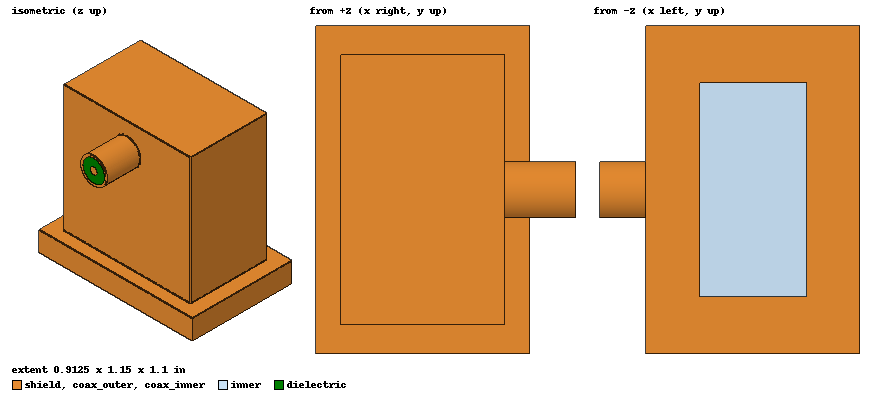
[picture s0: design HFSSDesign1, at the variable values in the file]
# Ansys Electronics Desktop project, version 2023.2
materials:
  vacuum: permittivity=1
  copper: permeability=0.999991 conductivity=58000000
  Teflon (tm): permittivity=2.1 dielectric_loss_tangent=0.001

design HFSSDesign1 (HFSS, HFSS Modal Network, model units in)
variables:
  offset = 0in
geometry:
  inner [vacuum] = box(corner=(-0.1875in, -0.375in, 0in), size=(0.375in, 0.75in, 1in))
  outer = box(corner=(-0.2875in, -0.475in, 0in), size=(0.575in, 0.95in, 1in))
  shield [copper] = box(corner=(-0.375in, -0.575in, 0in), size=(0.75in, 1.15in, 0.15in))
  inner_1 = inner.copy()
  outer.subtract(inner_1)
  inner_2 = inner.copy()
  shield.subtract(inner_2)
  shield.unite(outer)
  coax_inner [copper] = cylinder(axis=X, base_centre=(0in, 0in, 0.9in+offset), radius=0.635mm, height=(0.25+0.2875) in)
  dielectric [Teflon (tm)] = cylinder(axis=X, base_centre=(0.1875in, 0in, 0.9in+offset), radius=2.05mm, height=0.35in)
  coax_outer [copper] = cylinder(axis=X, base_centre=(0.2875in, 0in, 0.9in+offset), radius=2.5mm, height=0.25in)
  dielectric_1 = dielectric.copy()
  coax_outer.subtract(dielectric_1)
  coax_inner_1 = coax_inner.copy()
  dielectric.subtract(coax_inner_1)
  back_short = box(corner=(0.2875in, 0.475in, 1in), size=(-0.575in, -0.95in, 0.1in))
  shield.unite(back_short)
  coax_inner_2 = coax_inner.copy()
  shield.subtract(coax_inner_2)
  coax_inner_3 = coax_inner.copy()
  inner.subtract(coax_inner_3)
  dielectric_2 = dielectric.copy()
  shield.subtract(dielectric_2)
  coax_outer_1 = coax_outer.copy()
  shield.subtract(coax_outer_1)
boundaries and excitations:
  1: Wave Port Faces=coax_inner.face(+x end) dielectric.face(+x end) coax_outer.face(+x end) WavePortType=Modal NumModes=1 Modes{Mode1{CharImp=Zpi RenormImp=50ohm}}
  2: Wave Port Faces=inner.face(-z) WavePortType=Modal NumModes=1 Modes{Mode1{IntLine{(0.1875, 0, 0) -> (-0.1875, 0, 0)} CharImp=Zpi}}
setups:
  Setup1: HfssDriven MultipleAdaptiveFreqsSetup{Low=10GHz High=15GHz} MaxDeltaS=0.02 MaximumPasses=6 MinimumPasses=1 MinimumConvergedPasses=1 PercentRefinement=30 BasisOrder=1 PortAccuracy=2 DrivenSolverType="Direct Solver"
    sweep Sweep: 10GHz to 15GHz step 0.05GHz; Type=Fast SaveFields
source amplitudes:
  1:1: 1W 0deg
  2:1: 0W 0deg
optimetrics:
  ParametricSetup1: Parametric Sim._Setups=[Setup1]
    sweep offset: LIN -0.8in 0in 0.1in
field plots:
  Vector_H1: H Field in inner on Setup1 : LastAdaptive at Freq=12.5GHz Phase=0deg
  Vector_E1: E Field in inner on Setup1 : LastAdaptive at Freq=12.5GHz Phase=0deg
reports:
  S Parameter Plot 1: dB(S(1,1)), dB(S(2,1)) vs Freq on Setup1 : Sweep; markers m1 at 12.65GHz, m2 at 12GHz, m3 at 15GHz, m4 at 15GHz, m5 at 15GHz
  S Parameter Plot 2: dB(S(1,1)), dB(S(2,1)) vs Freq on Setup1 : Sweep [offset=all]; markers S11_1 at 12.5GHz, S11_2 at 12.5GHz, S11_3 at 12.5GHz, S11_4 at 12.5GHz, S11_5 at 12.5GHz, S11_6 at 12.5GHz, S11_7 at 12.5GHz, S11_8 at 12.5GHz, S11_9 at 12.5GHz, S21_1 at 12.5GHz, S21_2 at 12.5GHz, S21_3 at 12.5GHz, S21_4 at 12.5GHz, S21_5 at 12.5GHz, S21_6 at 12.5GHz, S21_7 at 12.5GHz
